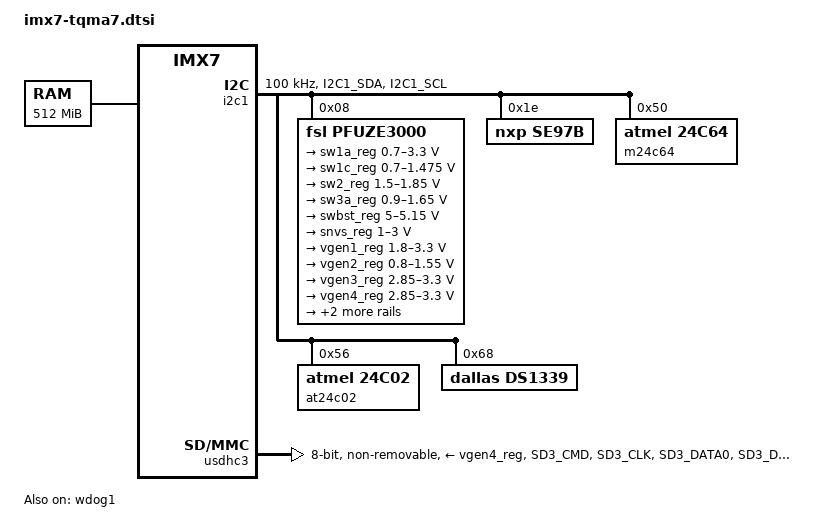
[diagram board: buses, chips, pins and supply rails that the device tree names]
// SPDX-License-Identifier: GPL-2.0 OR X11
/*
 * Device Tree Include file for TQ Systems TQMa7x boards with full mounted PCB.
 *
 * Copyright (C) 2016 TQ Systems GmbH
 * Author: Markus Niebel <Markus.Niebel@tq-group.com>
 * Copyright (C) 2019 Bruno Thomsen <bruno.thomsen@gmail.com>
 */

/ {
	memory@80000000 {
		device_type = "memory";
		/* 512 MB - default configuration */
		reg = <0x80000000 0x20000000>;
	};
};

&cpu0 {
	cpu-supply = <&sw1a_reg>;
};

&i2c1 {
	pinctrl-names = "default";
	pinctrl-0 = <&pinctrl_i2c1>;
	clock-frequency = <100000>;
	status = "okay";

	pfuze3000: pmic@8 {
		pinctrl-names = "default";
		pinctrl-0 = <&pinctrl_pmic1>;
		compatible = "fsl,pfuze3000";
		reg = <0x08>;

		regulators {
			sw1a_reg: sw1a {
				regulator-min-microvolt = <700000>;
				regulator-max-microvolt = <3300000>;
				regulator-boot-on;
				regulator-always-on;
				regulator-ramp-delay = <6250>;
			};

			/* use sw1c_reg to align with pfuze100/pfuze200 */
			sw1c_reg: sw1b {
				regulator-min-microvolt = <700000>;
				regulator-max-microvolt = <1475000>;
				regulator-boot-on;
				regulator-always-on;
				regulator-ramp-delay = <6250>;
			};

			sw2_reg: sw2 {
				regulator-min-microvolt = <1500000>;
				regulator-max-microvolt = <1850000>;
				regulator-boot-on;
				regulator-always-on;
			};

			sw3a_reg: sw3 {
				regulator-min-microvolt = <900000>;
				regulator-max-microvolt = <1650000>;
				regulator-boot-on;
				regulator-always-on;
			};

			swbst_reg: swbst {
				regulator-min-microvolt = <5000000>;
				regulator-max-microvolt = <5150000>;
			};

			snvs_reg: vsnvs {
				regulator-min-microvolt = <1000000>;
				regulator-max-microvolt = <3000000>;
				regulator-boot-on;
				regulator-always-on;
			};

			vref_reg: vrefddr {
				regulator-boot-on;
				regulator-always-on;
			};

			vgen1_reg: vldo1 {
				regulator-min-microvolt = <1800000>;
				regulator-max-microvolt = <3300000>;
				regulator-always-on;
			};

			vgen2_reg: vldo2 {
				regulator-min-microvolt = <800000>;
				regulator-max-microvolt = <1550000>;
				regulator-always-on;
			};

			vgen3_reg: vccsd {
				regulator-min-microvolt = <2850000>;
				regulator-max-microvolt = <3300000>;
				regulator-always-on;
			};

			vgen4_reg: v33 {
				regulator-min-microvolt = <2850000>;
				regulator-max-microvolt = <3300000>;
				regulator-always-on;
			};

			vgen5_reg: vldo3 {
				regulator-min-microvolt = <1800000>;
				regulator-max-microvolt = <3300000>;
				regulator-always-on;
			};

			vgen6_reg: vldo4 {
				regulator-min-microvolt = <1800000>;
				regulator-max-microvolt = <3300000>;
				regulator-always-on;
			};
		};
	};

	/* NXP SE97BTP with temperature sensor + eeprom */
	se97b: temperature-sensor-eeprom@1e {
		compatible = "nxp,se97b", "jedec,jc-42.4-temp";
		reg = <0x1e>;
		status = "okay";
	};

	/* ST M24C64 */
	m24c64: eeprom@50 {
		compatible = "atmel,24c64";
		reg = <0x50>;
		pagesize = <32>;
		status = "okay";
	};

	at24c02: eeprom@56 {
		compatible = "atmel,24c02";
		reg = <0x56>;
		pagesize = <16>;
		status = "okay";
	};

	ds1339: rtc@68 {
		compatible = "dallas,ds1339";
		reg = <0x68>;
	};
};

&iomuxc {
	pinctrl_i2c1: i2c1grp {
		fsl,pins = <
			MX7D_PAD_I2C1_SDA__I2C1_SDA	0x40000078
			MX7D_PAD_I2C1_SCL__I2C1_SCL	0x40000078
		>;
	};

	pinctrl_pmic1: pmic1grp {
		fsl,pins = <
			MX7D_PAD_SD2_RESET_B__GPIO5_IO11	0x4000005C
		>;
	};

	pinctrl_usdhc3: usdhc3grp {
		fsl,pins = <
			MX7D_PAD_SD3_CMD__SD3_CMD		0x59
			MX7D_PAD_SD3_CLK__SD3_CLK		0x56
			MX7D_PAD_SD3_DATA0__SD3_DATA0		0x59
			MX7D_PAD_SD3_DATA1__SD3_DATA1		0x59
			MX7D_PAD_SD3_DATA2__SD3_DATA2		0x59
			MX7D_PAD_SD3_DATA3__SD3_DATA3		0x59
			MX7D_PAD_SD3_DATA4__SD3_DATA4		0x59
			MX7D_PAD_SD3_DATA5__SD3_DATA5		0x59
			MX7D_PAD_SD3_DATA6__SD3_DATA6		0x59
			MX7D_PAD_SD3_DATA7__SD3_DATA7		0x59
			MX7D_PAD_SD3_STROBE__SD3_STROBE		0x19
		>;
	};

	pinctrl_usdhc3_100mhz: usdhc3grp_100mhz {
		fsl,pins = <
			MX7D_PAD_SD3_CMD__SD3_CMD               0x5a
			MX7D_PAD_SD3_CLK__SD3_CLK               0x51
			MX7D_PAD_SD3_DATA0__SD3_DATA0           0x5a
			MX7D_PAD_SD3_DATA1__SD3_DATA1           0x5a
			MX7D_PAD_SD3_DATA2__SD3_DATA2           0x5a
			MX7D_PAD_SD3_DATA3__SD3_DATA3           0x5a
			MX7D_PAD_SD3_DATA4__SD3_DATA4           0x5a
			MX7D_PAD_SD3_DATA5__SD3_DATA5           0x5a
			MX7D_PAD_SD3_DATA6__SD3_DATA6           0x5a
			MX7D_PAD_SD3_DATA7__SD3_DATA7           0x5a
			MX7D_PAD_SD3_STROBE__SD3_STROBE         0x1a
		>;
	};

	pinctrl_usdhc3_200mhz: usdhc3grp_200mhz {
		fsl,pins = <
			MX7D_PAD_SD3_CMD__SD3_CMD               0x5b
			MX7D_PAD_SD3_CLK__SD3_CLK               0x51
			MX7D_PAD_SD3_DATA0__SD3_DATA0           0x5b
			MX7D_PAD_SD3_DATA1__SD3_DATA1           0x5b
			MX7D_PAD_SD3_DATA2__SD3_DATA2           0x5b
			MX7D_PAD_SD3_DATA3__SD3_DATA3           0x5b
			MX7D_PAD_SD3_DATA4__SD3_DATA4           0x5b
			MX7D_PAD_SD3_DATA5__SD3_DATA5           0x5b
			MX7D_PAD_SD3_DATA6__SD3_DATA6           0x5b
			MX7D_PAD_SD3_DATA7__SD3_DATA7           0x5b
			MX7D_PAD_SD3_STROBE__SD3_STROBE         0x1b
		>;
	};
};

&iomuxc_lpsr {
	pinctrl_wdog1: wdog1grp {
		fsl,pins = <
			MX7D_PAD_LPSR_GPIO1_IO00__WDOG1_WDOG_B	0x30
		>;
	};
};

&sdma {
	status = "okay";
};

&usdhc3 {
	pinctrl-names = "default", "state_100mhz", "state_200mhz";
	pinctrl-0 = <&pinctrl_usdhc3>;
	pinctrl-1 = <&pinctrl_usdhc3_100mhz>;
	pinctrl-2 = <&pinctrl_usdhc3_200mhz>;
	assigned-clocks = <&clks IMX7D_USDHC3_ROOT_CLK>;
	assigned-clock-rates = <400000000>;
	bus-width = <8>;
	non-removable;
	vmmc-supply = <&vgen4_reg>;
	vqmmc-supply = <&sw2_reg>;
	status = "okay";
};

&wdog1 {
	pinctrl-names = "default";
	pinctrl-0 = <&pinctrl_wdog1>;
	/*
	 * Errata e10574:
	 * WDOG reset needs to run with WDOG_RESET_B signal enabled.
	 * X1-51 (WDOG1#) signal needs carrier board handling to reset
	 * TQMa7 on X1-22 (RESET_IN#).
	 */
	fsl,ext-reset-output;
	status = "okay";
};
